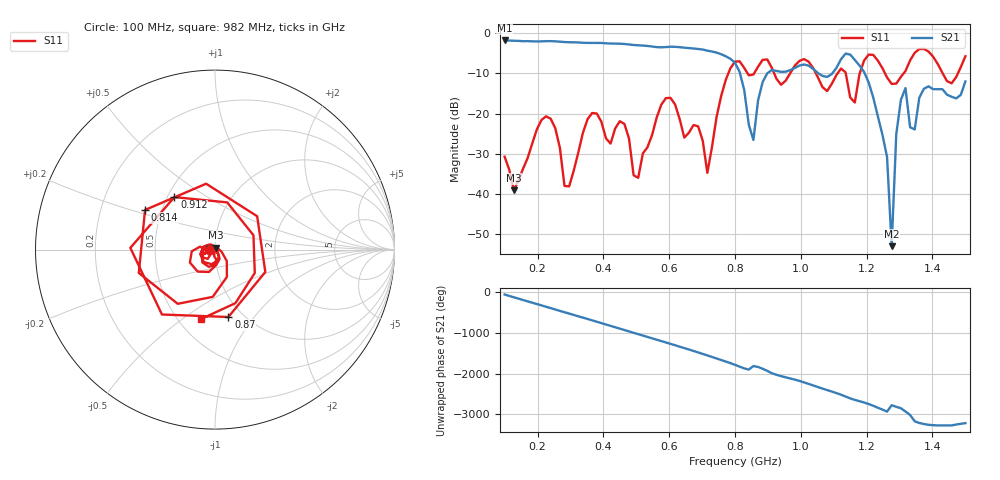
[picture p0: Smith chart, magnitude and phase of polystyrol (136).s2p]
! NanoVNA-App
! Date: 2025-09-25 15:30:57
! Start: 100MHz Stop: 1,5GHz Points: 101
! S-Parameter data: F S11 S21 S12 S22
# Hz S RI R 50
!  Frequency  S11_Real  S11_Imag  S21_Real  S21_Imag  S12_Real  S12_Imag  S22_Real  S22_Imag
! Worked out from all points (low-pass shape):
!   101 points, 100 MHz to 1.5 GHz, reference 50 ohm
!   highest |S21| = -1.80 dB at 100 MHz (marker M1); lowest = -52.9 dB at 1.276 GHz (marker M2)
!   |S21| within 3 dB of the highest: start of sweep to 743.1 MHz
!   lowest |S11| = -39.1 dB at 128 MHz (marker M3), VSWR 1.02, Z = 50.3 + j1.06 ohm
!   |S11| at or under -10 dB: start of sweep to 779.7 MHz; 1.046 GHz to 1.112 GHz (65.83 MHz wide, 6.1 % of centre); 1.256 GHz to 1.312 GHz (56.3 MHz wide, 4.38 % of centre) (the widest 3 of 7)
!   S12 and S22 are empty: the file has one direction only
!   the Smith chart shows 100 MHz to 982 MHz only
!   S11 on the Smith chart (normalised r, x): 100 MHz: 0.94, -0.01; 814 MHz: 0.40, +0.22; 870 MHz: 0.86, -0.75; 912 MHz: 0.54, +0.37; 982 MHz: 0.64, -0.59
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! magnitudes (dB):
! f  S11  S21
! 100 MHz  -30.7  -1.8
! 128 MHz  -39.1  -1.9
! 212 MHz  -21.6  -2.0
! 282 MHz  -38.0  -2.2
! 338 MHz  -24.7  -2.4
! 464 MHz  -22.6  -2.7
! 506 MHz  -35.9  -3.0
! 576 MHz  -17.8  -3.5
! 716 MHz  -34.7  -4.3
! 800 MHz  -7.1  -7.4
! 814 MHz  -7.0  -9.6
! 856 MHz  -10.3  -26.5
! 870 MHz  -8.3  -16.7
! 912 MHz  -8.6  -9.2
! 982 MHz  -8.0  -8.6
! 1.038 GHz  -8.7  -8.9
! 1.192 GHz  -6.8  -9.6
! 1.262 GHz  -11.0  -30.8
! 1.276 GHz  -12.6  -52.9
! 1.29 GHz  -12.5  -25.1
! 1.318 GHz  -9.4  -13.7
! 1.5 GHz  -5.7  -12.0
